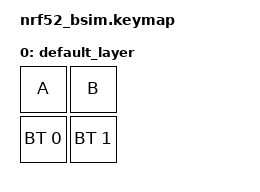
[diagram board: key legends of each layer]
#include <behaviors.dtsi>
#include <dt-bindings/zmk/bt.h>
#include <dt-bindings/zmk/keys.h>
#include <dt-bindings/zmk/kscan_mock.h>

&kscan {
    events = <ZMK_MOCK_PRESS(0,0,5000)
              ZMK_MOCK_RELEASE(0,0,200)
              ZMK_MOCK_PRESS(1,1,10)
              ZMK_MOCK_RELEASE(1,1,2000)
              ZMK_MOCK_PRESS(0,1,1000)
              ZMK_MOCK_RELEASE(0,1,1000)>;
};

/ {
    keymap {
        compatible = "zmk,keymap";

        default_layer {
            bindings = <&kp A &kp B
                        &bt BT_SEL 0 &bt BT_SEL 1>;
        };
    };
};
